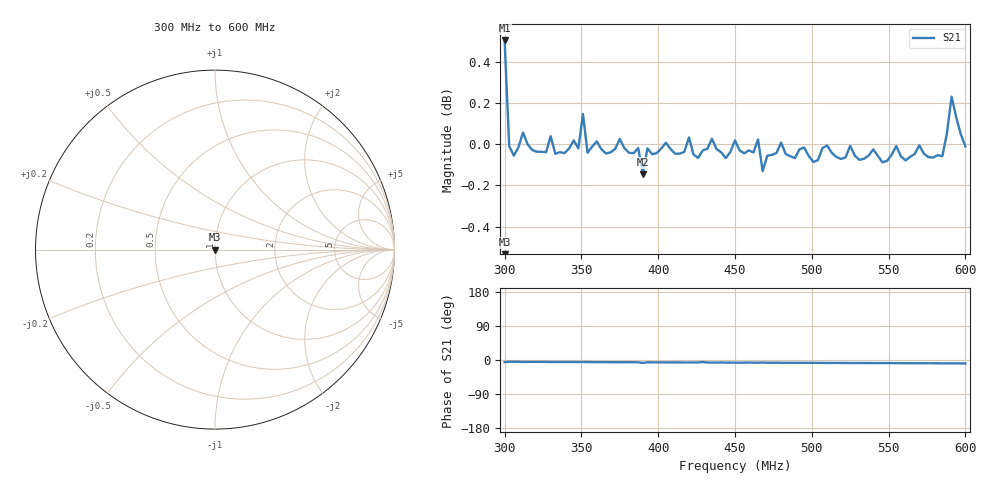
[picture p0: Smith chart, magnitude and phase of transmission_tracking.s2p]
! Created with skrf 1.8.0 (http://scikit-rf.org).
# Hz S RI R 50.0
!freq ReS11 ImS11 ReS21 ImS21 ReS12 ImS12 ReS22 ImS22
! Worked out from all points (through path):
!   101 points, 300 MHz to 600 MHz, reference 50 ohm
!   highest |S21| = 0.50 dB at 300 MHz (marker M1); lowest = -0.1 dB at 390 MHz (marker M2)
!   group delay of S21, straight-line fit = 38.8 ps
!   lowest |S11| = - dB at 300 MHz (marker M3), VSWR 1.00, Z = 50 + j0 ohm
!   |S11| at or under -10 dB: start of sweep to end of sweep
!   S12 and S22 are empty: the file has one direction only
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3e8  0 0  1.055 -0.1027  0 0  0 0
3.03e8  0 0  0.9956 -0.0811  0 0  0 0
3.06e8  0 0  0.9903 -0.0814  0 0  0 0
3.12e8  0 0  1.003 -0.0876  0 0  0 0
3.48e8  0 0  0.9932 -0.0942  0 0  0 0
3.51e8  0 0  1.013 -0.091  0 0  0 0
3.54e8  0 0  0.9908 -0.0939  0 0  0 0
3.87e8  0 0  0.9924 -0.1043  0 0  0 0
3.9e8  0 0  0.9747 -0.1304  0 0  0 0
3.93e8  0 0  0.9921 -0.1058  0 0  0 0
4.02e8  0 0  0.9918 -0.1079  0 0  0 0
4.26e8  0 0  0.986 -0.1127  0 0  0 0
4.29e8  0 0  0.9925 -0.0892  0 0  0 0
4.32e8  0 0  0.9908 -0.1156  0 0  0 0
4.5e8  0 0  0.9946 -0.1227  0 0  0 0
4.65e8  0 0  0.995 -0.1238  0 0  0 0
4.68e8  0 0  0.9783 -0.1152  0 0  0 0
5.01e8  0 0  0.9814 -0.1306  0 0  0 0
5.52e8  0 0  0.9839 -0.1422  0 0  0 0
5.85e8  0 0  0.9815 -0.1529  0 0  0 0
5.91e8  0 0  1.015 -0.1561  0 0  0 0
6e8  0 0  0.9861 -0.1586  0 0  0 0
